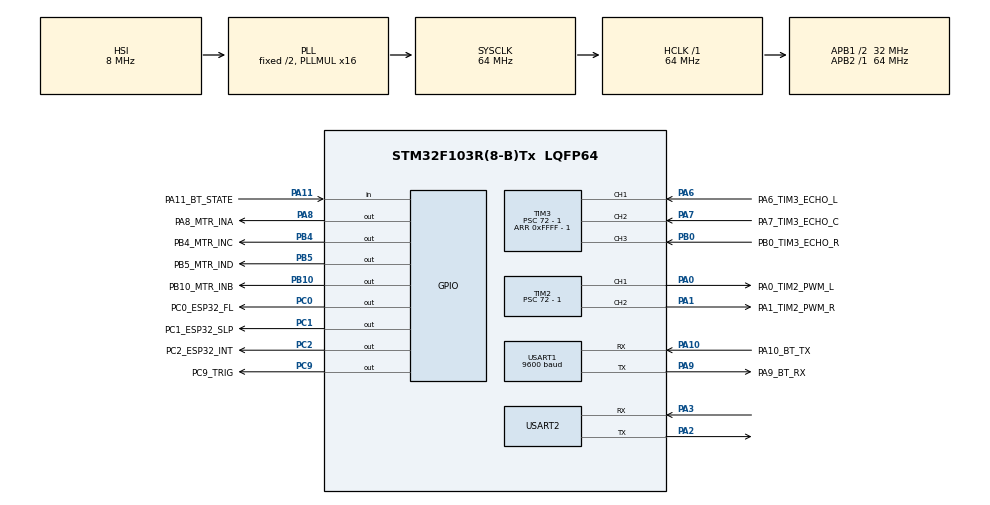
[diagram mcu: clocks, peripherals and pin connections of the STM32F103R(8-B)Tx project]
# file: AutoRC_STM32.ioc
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Mcu.Family=STM32F1
Mcu.Name=STM32F103R(8-B)Tx
Mcu.Package=LQFP64
NVIC.PriorityGroup=NVIC_PRIORITYGROUP_4
NVIC.TIM2_IRQn=true\:6\:0\:true\:false\:true\:true\:true\:true
NVIC.TIM3_IRQn=true\:5\:0\:true\:false\:true\:true\:true\:true
NVIC.TIM4_IRQn=true\:7\:0\:true\:false\:true\:true\:true\:true
NVIC.USART1_IRQn=true\:8\:0\:true\:false\:true\:true\:true\:true
PA0-WKUP.GPIO_Label=PA0_TIM2_PWM_L
PA0-WKUP.Signal=S_TIM2_CH1_ETR
PA1.GPIO_Label=PA1_TIM2_PWM_R
PA1.Signal=S_TIM2_CH2
PA10.GPIO_Label=PA10_BT_TX
PA10.Mode=Asynchronous
PA10.Signal=USART1_RX
PA11.GPIO_Label=PA11_BT_STATE
PA11.Signal=GPIO_Input
PA13.Mode=Trace_Asynchronous_SW
PA13.Signal=SYS_JTMS-SWDIO
PA14.Mode=Trace_Asynchronous_SW
PA14.Signal=SYS_JTCK-SWCLK
PA2.GPIO_Mode=GPIO_MODE_AF_PP
PA2.GPIO_PuPd=GPIO_NOPULL
PA2.GPIO_Speed=GPIO_SPEED_FREQ_HIGH
PA2.Mode=Asynchronous
PA2.Signal=USART2_TX
PA3.GPIO_Mode=GPIO_MODE_INPUT
PA3.GPIO_PuPd=GPIO_NOPULL
PA3.GPIO_Speed=GPIO_SPEED_FREQ_LOW
PA3.Mode=Asynchronous
PA3.Signal=USART2_RX
PA6.GPIO_Label=PA6_TIM3_ECHO_L
PA6.Signal=S_TIM3_CH1
PA7.GPIO_Label=PA7_TIM3_ECHO_C
PA7.Signal=S_TIM3_CH2
PA8.GPIO_Label=PA8_MTR_INA
PA8.GPIO_PuPd=GPIO_PULLUP
PA8.GPIO_Speed=GPIO_SPEED_FREQ_HIGH
PA8.PinState=GPIO_PIN_SET
PA8.Signal=GPIO_Output
PA9.GPIO_Label=PA9_BT_RX
PA9.Mode=Asynchronous
PA9.Signal=USART1_TX
PB0.GPIO_Label=PB0_TIM3_ECHO_R
PB0.Signal=S_TIM3_CH3
PB10.GPIO_Label=PB10_MTR_INB
PB10.GPIO_PuPd=GPIO_PULLUP
PB10.GPIO_Speed=GPIO_SPEED_FREQ_HIGH
PB10.PinState=GPIO_PIN_SET
PB10.Signal=GPIO_Output
PB3.Mode=Trace_Asynchronous_SW
PB3.Signal=SYS_JTDO-TRACESWO
PB4.GPIO_Label=PB4_MTR_INC
PB4.GPIO_PuPd=GPIO_PULLUP
PB4.GPIO_Speed=GPIO_SPEED_FREQ_HIGH
PB4.PinState=GPIO_PIN_SET
PB4.Signal=GPIO_Output
PB5.GPIO_Label=PB5_MTR_IND
PB5.GPIO_PuPd=GPIO_PULLUP
PB5.GPIO_Speed=GPIO_SPEED_FREQ_HIGH
PB5.PinState=GPIO_PIN_SET
PB5.Signal=GPIO_Output
PC0.GPIO_Label=PC0_ESP32_FL
PC0.GPIO_PuPd=GPIO_PULLDOWN
PC0.GPIO_Speed=GPIO_SPEED_FREQ_HIGH
PC0.Signal=GPIO_Output
PC1.GPIO_Label=PC1_ESP32_SLP
PC1.GPIO_PuPd=GPIO_PULLDOWN
PC1.GPIO_Speed=GPIO_SPEED_FREQ_HIGH
PC1.PinState=GPIO_PIN_RESET
PC1.Signal=GPIO_Output
PC2.GPIO_Label=PC2_ESP32_INT
PC2.GPIO_PuPd=GPIO_PULLDOWN
PC2.GPIO_Speed=GPIO_SPEED_FREQ_HIGH
PC2.PinState=GPIO_PIN_RESET
PC2.Signal=GPIO_Output
PC9.GPIO_Label=PC9_TRIG
PC9.GPIO_PuPd=GPIO_PULLDOWN
PC9.GPIO_Speed=GPIO_SPEED_FREQ_HIGH
PC9.PinState=GPIO_PIN_RESET
PC9.Signal=GPIO_Output
PD0-OSC_IN.Mode=HSE-External-Oscillator
PD0-OSC_IN.Signal=RCC_OSC_IN
PD1-OSC_OUT.Mode=HSE-External-Oscillator
PD1-OSC_OUT.Signal=RCC_OSC_OUT
ProjectManager.HeapSize=0x200
ProjectManager.StackSize=0x400
ProjectManager.TargetToolchain=STM32CubeIDE
RCC.AHBFreq_Value=64000000
RCC.APB1CLKDivider=RCC_HCLK_DIV2
RCC.APB1Freq_Value=32000000
RCC.APB1TimFreq_Value=64000000
RCC.APB2Freq_Value=64000000
RCC.APB2TimFreq_Value=64000000
RCC.HCLKFreq_Value=64000000
RCC.PLLMUL=RCC_PLL_MUL16
RCC.RTCClockSelection=RCC_RTCCLKSOURCE_LSE
RCC.SYSCLKFreq_VALUE=64000000
RCC.SYSCLKSource=RCC_SYSCLKSOURCE_PLLCLK
RCC.USBFreq_Value=64000000
SH.S_TIM2_CH1_ETR.0=TIM2_CH1,PWM Generation1 CH1
SH.S_TIM2_CH2.0=TIM2_CH2,PWM Generation2 CH2
SH.S_TIM3_CH1.0=TIM3_CH1,Input_Capture1_from_TI1
SH.S_TIM3_CH2.0=TIM3_CH2,Input_Capture2_from_TI2
SH.S_TIM3_CH3.0=TIM3_CH3,Input_Capture3_from_TI3
TIM2.AutoReloadPreload=TIM_AUTORELOAD_PRELOAD_ENABLE
TIM2.Channel-PWM\ Generation1\ CH1=TIM_CHANNEL_1
TIM2.Channel-PWM\ Generation2\ CH2=TIM_CHANNEL_2
TIM2.Period=1000 - 1
TIM2.Prescaler=72 - 1
TIM3.Channel-Input_Capture1_from_TI1=TIM_CHANNEL_1
TIM3.Channel-Input_Capture2_from_TI2=TIM_CHANNEL_2
TIM3.Channel-Input_Capture3_from_TI3=TIM_CHANNEL_3
TIM3.ICFilter_CH1=15
TIM3.ICFilter_CH2=15
TIM3.ICFilter_CH3=15
TIM3.Period=0xFFFF - 1
TIM3.Prescaler=72 - 1
TIM4.Period=20000 - 1
TIM4.Prescaler=720 - 1
USART1.BaudRate=9600
USART1.VirtualMode=VM_ASYNC
USART2.VirtualMode=VM_ASYNC
VP_TIM2_VS_ClockSourceINT.Mode=Internal
VP_TIM3_VS_ClockSourceINT.Mode=Internal
VP_TIM4_VS_ClockSourceINT.Mode=Internal
board=NUCLEO-F103RB

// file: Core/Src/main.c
/* USER CODE BEGIN Header */
/**
 ******************************************************************************
 * @file           : main.c
 * @brief          : Main program body
 ******************************************************************************
 * @attention
 *
 * Copyright (c) 2023 STMicroelectronics.
 * All rights reserved.
 *
 * This software is licensed under terms that can be found in the LICENSE file
 * in the root directory of this software component.
 * If no LICENSE file comes with this software, it is provided AS-IS.
 *
 ******************************************************************************
 */
/* USER CODE END Header */
#include "main.h"

/* USER CODE BEGIN Includes */

#include <stdio.h>
#include <string.h>
#include "ultrasonic_sensor.h"
#include "bluetooth_module.h"

/* USER CODE END Includes */

TIM_HandleTypeDef htim2;
TIM_HandleTypeDef htim3;
TIM_HandleTypeDef htim4;

UART_HandleTypeDef huart1;
UART_HandleTypeDef huart2;

/* USER CODE BEGIN PV */

// ultrasonic_sensor
extern uint8_t L_Dist;
extern uint8_t C_Dist;
extern uint8_t R_Dist;

// motor_driver
extern uint8_t cur_dir;

// bluetooth_module
extern uint8_t rx_c;
extern uint8_t tx_c;
extern uint8_t tx_dist[256];

/* USER CODE END PV */

void SystemClock_Config(void);
static void MX_GPIO_Init(void);
static void MX_USART2_UART_Init(void);
static void MX_TIM2_Init(void);
static void MX_TIM3_Init(void);
static void MX_TIM4_Init(void);
static void MX_USART1_UART_Init(void);
/* USER CODE BEGIN PFP */

void delay_us(uint16_t time) {  // delay for microseconds
	__HAL_TIM_SET_COUNTER(&htim3, 0);
	while ((__HAL_TIM_GET_COUNTER(&htim3)) < time)
		;
}

void HAL_TIM_PeriodElapsedCallback(TIM_HandleTypeDef *htim) { // read & send distance every 100ms
	if (htim->Instance == htim4.Instance) {
		if (HAL_GPIO_ReadPin(PA11_BT_STATE_GPIO_Port, PA11_BT_STATE_Pin) == 0) // if bluetooth connection is lost
			drive('h');  // stop car
		HCSR04_Read();
		send_distance(L_Dist, C_Dist, R_Dist);
	}
}

/* USER CODE END PFP */

/* USER CODE BEGIN 0 */

#ifdef __GNUC__
#define PUTCHAR_PROTOTYPE int __io_putchar(int ch)
#else
#define PUTCHAR_PROTOTYPE int fputc(int ch, FILE *f)
#endif

/**
 * @brief Retargets the C library printf function to the USART
 * @param None
 * @retval None
 */
PUTCHAR_PROTOTYPE {
	if (ch == '\n')
		HAL_UART_Transmit(&huart2, (uint8_t*) "\r", 1, 0xFFFF);
	HAL_UART_Transmit(&huart2, (uint8_t*) &ch, 1, 0xFFFF);
	return ch;
}

/* USER CODE END 0 */

int main(void)
{

  /* MCU Configuration--------------------------------------------------------*/

  /* Reset of all peripherals, Initializes the Flash interface and the Systick. */
  HAL_Init();

  /* Configure the system clock */
  SystemClock_Config();

  /* Initialize all configured peripherals */
  MX_GPIO_Init();
  MX_USART2_UART_Init();
  MX_TIM2_Init();
  MX_TIM3_Init();
  MX_TIM4_Init();
  MX_USART1_UART_Init();
  /* USER CODE BEGIN 2 */

	// ultrasonic_sensor
	ultrasonic_init(&htim3);
	HAL_TIM_IC_Start_IT(&htim3, TIM_CHANNEL_1);
	HAL_TIM_IC_Start_IT(&htim3, TIM_CHANNEL_2);
	HAL_TIM_IC_Start_IT(&htim3, TIM_CHANNEL_3);

	// motor_driver_esp32cam
	motor_init(&htim2);
	HAL_TIM_PWM_Start(&htim2, TIM_CHANNEL_1);
	HAL_TIM_PWM_Start(&htim2, TIM_CHANNEL_2);

	// bluetooth_module
	init_bt(&huart1);
	HAL_UART_Receive_IT(&huart1, &rx_c, 1);
	HAL_TIM_Base_Start_IT(&htim4);

  /* USER CODE END 2 */

  /* Infinite loop */
	while (1) {

	}
}

void SystemClock_Config(void)
{
  RCC_OscInitTypeDef RCC_OscInitStruct = {0};
  RCC_ClkInitTypeDef RCC_ClkInitStruct = {0};

  /** Initializes the RCC Oscillators according to the specified parameters
  * in the RCC_OscInitTypeDef structure.
  */
  RCC_OscInitStruct.OscillatorType = RCC_OSCILLATORTYPE_HSI;
  RCC_OscInitStruct.HSIState = RCC_HSI_ON;
  RCC_OscInitStruct.HSICalibrationValue = RCC_HSICALIBRATION_DEFAULT;
  RCC_OscInitStruct.PLL.PLLState = RCC_PLL_ON;
  RCC_OscInitStruct.PLL.PLLSource = RCC_PLLSOURCE_HSI_DIV2;
  RCC_OscInitStruct.PLL.PLLMUL = RCC_PLL_MUL16;
  if (HAL_RCC_OscConfig(&RCC_OscInitStruct) != HAL_OK)
  {
    Error_Handler();
  }

  /** Initializes the CPU, AHB and APB buses clocks
  */
  RCC_ClkInitStruct.ClockType = RCC_CLOCKTYPE_HCLK|RCC_CLOCKTYPE_SYSCLK
                              |RCC_CLOCKTYPE_PCLK1|RCC_CLOCKTYPE_PCLK2;
  RCC_ClkInitStruct.SYSCLKSource = RCC_SYSCLKSOURCE_PLLCLK;
  RCC_ClkInitStruct.AHBCLKDivider = RCC_SYSCLK_DIV1;
  RCC_ClkInitStruct.APB1CLKDivider = RCC_HCLK_DIV2;
  RCC_ClkInitStruct.APB2CLKDivider = RCC_HCLK_DIV1;

  if (HAL_RCC_ClockConfig(&RCC_ClkInitStruct, FLASH_LATENCY_2) != HAL_OK)
  {
    Error_Handler();
  }
}

static void MX_TIM2_Init(void)
{

  TIM_ClockConfigTypeDef sClockSourceConfig = {0};
  TIM_MasterConfigTypeDef sMasterConfig = {0};
  TIM_OC_InitTypeDef sConfigOC = {0};

  htim2.Instance = TIM2;
  htim2.Init.Prescaler = 72 - 1;
  htim2.Init.CounterMode = TIM_COUNTERMODE_UP;
  htim2.Init.Period = 1000 - 1;
  htim2.Init.ClockDivision = TIM_CLOCKDIVISION_DIV1;
  htim2.Init.AutoReloadPreload = TIM_AUTORELOAD_PRELOAD_ENABLE;
  if (HAL_TIM_Base_Init(&htim2) != HAL_OK)
  {
    Error_Handler();
  }
  sClockSourceConfig.ClockSource = TIM_CLOCKSOURCE_INTERNAL;
  if (HAL_TIM_ConfigClockSource(&htim2, &sClockSourceConfig) != HAL_OK)
  {
    Error_Handler();
  }
  if (HAL_TIM_PWM_Init(&htim2) != HAL_OK)
  {
    Error_Handler();
  }
  sMasterConfig.MasterOutputTrigger = TIM_TRGO_RESET;
  sMasterConfig.MasterSlaveMode = TIM_MASTERSLAVEMODE_DISABLE;
  if (HAL_TIMEx_MasterConfigSynchronization(&htim2, &sMasterConfig) != HAL_OK)
  {
    Error_Handler();
  }
  sConfigOC.OCMode = TIM_OCMODE_PWM1;
  sConfigOC.Pulse = 0;
  sConfigOC.OCPolarity = TIM_OCPOLARITY_HIGH;
  sConfigOC.OCFastMode = TIM_OCFAST_DISABLE;
  if (HAL_TIM_PWM_ConfigChannel(&htim2, &sConfigOC, TIM_CHANNEL_1) != HAL_OK)
  {
    Error_Handler();
  }
  if (HAL_TIM_PWM_ConfigChannel(&htim2, &sConfigOC, TIM_CHANNEL_2) != HAL_OK)
  {
    Error_Handler();
  }
  HAL_TIM_MspPostInit(&htim2);

}

static void MX_TIM3_Init(void)
{

  TIM_ClockConfigTypeDef sClockSourceConfig = {0};
  TIM_MasterConfigTypeDef sMasterConfig = {0};
  TIM_IC_InitTypeDef sConfigIC = {0};

  htim3.Instance = TIM3;
  htim3.Init.Prescaler = 72 - 1;
  htim3.Init.CounterMode = TIM_COUNTERMODE_UP;
  htim3.Init.Period = 0xFFFF - 1;
  htim3.Init.ClockDivision = TIM_CLOCKDIVISION_DIV1;
  htim3.Init.AutoReloadPreload = TIM_AUTORELOAD_PRELOAD_DISABLE;
  if (HAL_TIM_Base_Init(&htim3) != HAL_OK)
  {
    Error_Handler();
  }
  sClockSourceConfig.ClockSource = TIM_CLOCKSOURCE_INTERNAL;
  if (HAL_TIM_ConfigClockSource(&htim3, &sClockSourceConfig) != HAL_OK)
  {
    Error_Handler();
  }
  if (HAL_TIM_IC_Init(&htim3) != HAL_OK)
  {
    Error_Handler();
  }
  sMasterConfig.MasterOutputTrigger = TIM_TRGO_RESET;
  sMasterConfig.MasterSlaveMode = TIM_MASTERSLAVEMODE_DISABLE;
  if (HAL_TIMEx_MasterConfigSynchronization(&htim3, &sMasterConfig) != HAL_OK)
  {
    Error_Handler();
  }
  sConfigIC.ICPolarity = TIM_INPUTCHANNELPOLARITY_RISING;
  sConfigIC.ICSelection = TIM_ICSELECTION_DIRECTTI;
  sConfigIC.ICPrescaler = TIM_ICPSC_DIV1;
  sConfigIC.ICFilter = 15;
  if (HAL_TIM_IC_ConfigChannel(&htim3, &sConfigIC, TIM_CHANNEL_1) != HAL_OK)
  {
    Error_Handler();
  }
  if (HAL_TIM_IC_ConfigChannel(&htim3, &sConfigIC, TIM_CHANNEL_2) != HAL_OK)
  {
    Error_Handler();
  }
  if (HAL_TIM_IC_ConfigChannel(&htim3, &sConfigIC, TIM_CHANNEL_3) != HAL_OK)
  {
    Error_Handler();
  }

}

static void MX_TIM4_Init(void)
{

  TIM_ClockConfigTypeDef sClockSourceConfig = {0};
  TIM_MasterConfigTypeDef sMasterConfig = {0};

  htim4.Instance = TIM4;
  htim4.Init.Prescaler = 720 - 1;
  htim4.Init.CounterMode = TIM_COUNTERMODE_UP;
  htim4.Init.Period = 20000 - 1;
  htim4.Init.ClockDivision = TIM_CLOCKDIVISION_DIV1;
  htim4.Init.AutoReloadPreload = TIM_AUTORELOAD_PRELOAD_DISABLE;
  if (HAL_TIM_Base_Init(&htim4) != HAL_OK)
  {
    Error_Handler();
  }
  sClockSourceConfig.ClockSource = TIM_CLOCKSOURCE_INTERNAL;
  if (HAL_TIM_ConfigClockSource(&htim4, &sClockSourceConfig) != HAL_OK)
  {
    Error_Handler();
  }
  sMasterConfig.MasterOutputTrigger = TIM_TRGO_RESET;
  sMasterConfig.MasterSlaveMode = TIM_MASTERSLAVEMODE_DISABLE;
  if (HAL_TIMEx_MasterConfigSynchronization(&htim4, &sMasterConfig) != HAL_OK)
  {
    Error_Handler();
  }

}

static void MX_USART1_UART_Init(void)
{

  huart1.Instance = USART1;
  huart1.Init.BaudRate = 9600;
  huart1.Init.WordLength = UART_WORDLENGTH_8B;
  huart1.Init.StopBits = UART_STOPBITS_1;
  huart1.Init.Parity = UART_PARITY_NONE;
  huart1.Init.Mode = UART_MODE_TX_RX;
  huart1.Init.HwFlowCtl = UART_HWCONTROL_NONE;
  huart1.Init.OverSampling = UART_OVERSAMPLING_16;
  if (HAL_UART_Init(&huart1) != HAL_OK)
  {
    Error_Handler();
  }

}

static void MX_USART2_UART_Init(void)
{

  huart2.Instance = USART2;
  huart2.Init.BaudRate = 115200;
  huart2.Init.WordLength = UART_WORDLENGTH_8B;
  huart2.Init.StopBits = UART_STOPBITS_1;
  huart2.Init.Parity = UART_PARITY_NONE;
  huart2.Init.Mode = UART_MODE_TX_RX;
  huart2.Init.HwFlowCtl = UART_HWCONTROL_NONE;
  huart2.Init.OverSampling = UART_OVERSAMPLING_16;
  if (HAL_UART_Init(&huart2) != HAL_OK)
  {
    Error_Handler();
  }

}

static void MX_GPIO_Init(void)
{
  GPIO_InitTypeDef GPIO_InitStruct = {0};

  /* GPIO Ports Clock Enable */
  __HAL_RCC_GPIOD_CLK_ENABLE();
  __HAL_RCC_GPIOC_CLK_ENABLE();
  __HAL_RCC_GPIOA_CLK_ENABLE();
  __HAL_RCC_GPIOB_CLK_ENABLE();

  /*Configure GPIO pin Output Level */
  HAL_GPIO_WritePin(GPIOC, PC0_ESP32_FL_Pin|PC1_ESP32_SLP_Pin|PC2_ESP32_INT_Pin|PC9_TRIG_Pin, GPIO_PIN_RESET);

  /*Configure GPIO pin Output Level */
  HAL_GPIO_WritePin(GPIOB, PB10_MTR_INB_Pin|PB4_MTR_INC_Pin|PB5_MTR_IND_Pin, GPIO_PIN_SET);

  /*Configure GPIO pin Output Level */
  HAL_GPIO_WritePin(PA8_MTR_INA_GPIO_Port, PA8_MTR_INA_Pin, GPIO_PIN_SET);

  /*Configure GPIO pins : PC0_ESP32_FL_Pin PC1_ESP32_SLP_Pin PC2_ESP32_INT_Pin PC9_TRIG_Pin */
  GPIO_InitStruct.Pin = PC0_ESP32_FL_Pin|PC1_ESP32_SLP_Pin|PC2_ESP32_INT_Pin|PC9_TRIG_Pin;
  GPIO_InitStruct.Mode = GPIO_MODE_OUTPUT_PP;
  GPIO_InitStruct.Pull = GPIO_PULLDOWN;
  GPIO_InitStruct.Speed = GPIO_SPEED_FREQ_HIGH;
  HAL_GPIO_Init(GPIOC, &GPIO_InitStruct);

  /*Configure GPIO pins : PB10_MTR_INB_Pin PB4_MTR_INC_Pin PB5_MTR_IND_Pin */
  GPIO_InitStruct.Pin = PB10_MTR_INB_Pin|PB4_MTR_INC_Pin|PB5_MTR_IND_Pin;
  GPIO_InitStruct.Mode = GPIO_MODE_OUTPUT_PP;
  GPIO_InitStruct.Pull = GPIO_PULLUP;
  GPIO_InitStruct.Speed = GPIO_SPEED_FREQ_HIGH;
  HAL_GPIO_Init(GPIOB, &GPIO_InitStruct);

  /*Configure GPIO pin : PA8_MTR_INA_Pin */
  GPIO_InitStruct.Pin = PA8_MTR_INA_Pin;
  GPIO_InitStruct.Mode = GPIO_MODE_OUTPUT_PP;
  GPIO_InitStruct.Pull = GPIO_PULLUP;
  GPIO_InitStruct.Speed = GPIO_SPEED_FREQ_HIGH;
  HAL_GPIO_Init(PA8_MTR_INA_GPIO_Port, &GPIO_InitStruct);

  /*Configure GPIO pin : PA11_BT_STATE_Pin */
  GPIO_InitStruct.Pin = PA11_BT_STATE_Pin;
  GPIO_InitStruct.Mode = GPIO_MODE_INPUT;
  GPIO_InitStruct.Pull = GPIO_NOPULL;
  HAL_GPIO_Init(PA11_BT_STATE_GPIO_Port, &GPIO_InitStruct);

}

void Error_Handler(void)
{
	__disable_irq();
	while (1) {
	}
}
